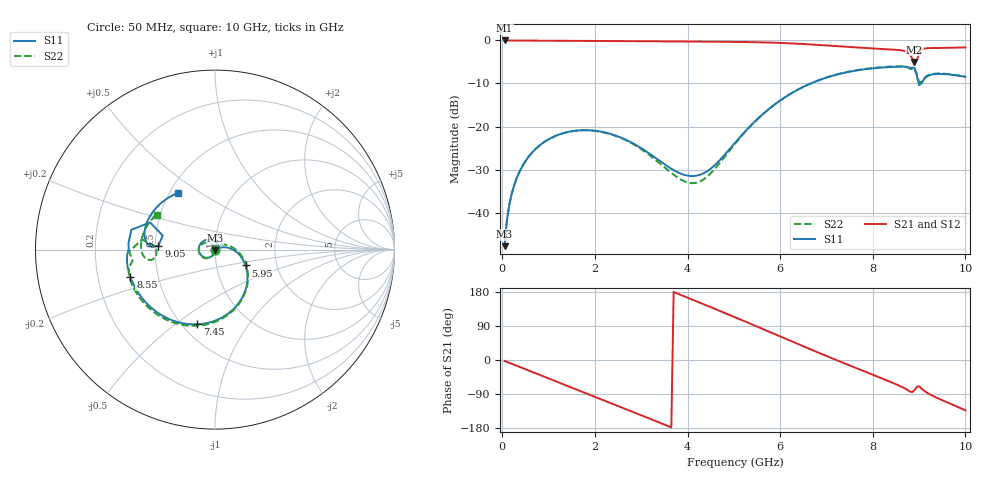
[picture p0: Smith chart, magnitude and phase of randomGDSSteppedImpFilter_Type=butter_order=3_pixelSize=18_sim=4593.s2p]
! freq	dB(S11)	phase(S11)	dB(S12)	phase(S12)
!  dB(S21)	phase(S21)	dB(S22)	phase(S22)
!S-par simulation data
#  GHz  S  DB  R 50
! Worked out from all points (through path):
!   200 points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, 50 MHz to 10 GHz, reference 50 ohm
!   highest |S21| = 0.00 dB at 50 MHz (marker M1); lowest = -5.0 dB at 8.9 GHz (marker M2)
!   group delay of S21, straight-line fit = 138 ps
!   lowest |S11| = -47.8 dB at 50 MHz (marker M3), VSWR 1.01, Z = 50 - j0.407 ohm
!   |S11| at or under -10 dB: start of sweep to 6.662 GHz; 8.991 GHz to 9.05 GHz (59.11 MHz wide, 0.655 % of centre)
!   |S22| runs from -47.8 to -6.0 dB; largest |S21 - S12| = 0
!   S11 on the Smith chart (normalised r, x): 50 MHz: 1.00, -0.01; 5.95 GHz: 1.38, -0.25; 7.45 GHz: 0.59, -0.60; 8.55 GHz: 0.34, -0.14; 9.05 GHz: 0.52, +0.03; 10 GHz: 0.55, +0.41
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0.05  -47.80 -91.7  -0.00 -2.5  -0.00 -2.5  -47.80 -91.5
0.1  -41.78 -94.6  -0.01 -4.9  -0.01 -4.9  -41.78 -94.2
0.2  -35.79 -99.9  -0.02 -9.8  -0.02 -9.8  -35.79 -99.1
0.5  -28.05 -115.5  -0.04 -24.4  -0.04 -24.4  -28.05 -113.5
1.15  -22.18 -149.4  -0.09 -55.9  -0.09 -55.9  -22.18 -144.5
1.75  -20.85 179.2  -0.13 -84.9  -0.13 -84.9  -20.87 -172.1
2.5  -22.30 137.9  -0.16 -121.3  -0.16 -121.3  -22.39 155.1
3.4  -27.99 78.1  -0.21 -165.6  -0.21 -165.6  -28.55 121.5
4.2  -31.41 24.7  -0.27 154.6  -0.27 154.6  -33.04 88.0
5.05  -23.46 10.0  -0.34 111.6  -0.34 111.6  -23.67 24.2
5.5  -18.36 -6.6  -0.42 88.3  -0.42 88.3  -18.40 -1.7
5.95  -14.34 -27.4  -0.56 64.9  -0.56 64.9  -14.34 -25.7
6.7  -9.82 -65.1  -0.96 25.9  -0.96 25.9  -9.79 -64.3
7.45  -7.37 -103.4  -1.50 -11.9  -1.50 -11.9  -7.32 -101.0
8.35  -6.19 -150.4  -2.07 -56.1  -2.07 -56.1  -6.10 -143.8
8.55  -6.10 -162.2  -2.22 -66.5  -2.22 -66.5  -6.00 -154.3
8.75  -6.20 -176.6  -2.67 -79.1  -2.67 -79.1  -6.20 -168.0
8.9  -6.40 166.7  -4.97 -79.9  -4.97 -79.9  -6.42 -178.7
9  -10.40 165.0  -3.13 -69.4  -3.13 -69.4  -9.75 177.3
9.05  -10.00 176.0  -2.24 -74.9  -2.24 -74.9  -9.62 -172.9
9.4  -7.78 160.5  -1.76 -100.7  -1.76 -100.7  -7.68 176.7
10  -8.47 123.0  -1.61 -132.6  -1.61 -132.6  -8.41 149.0
